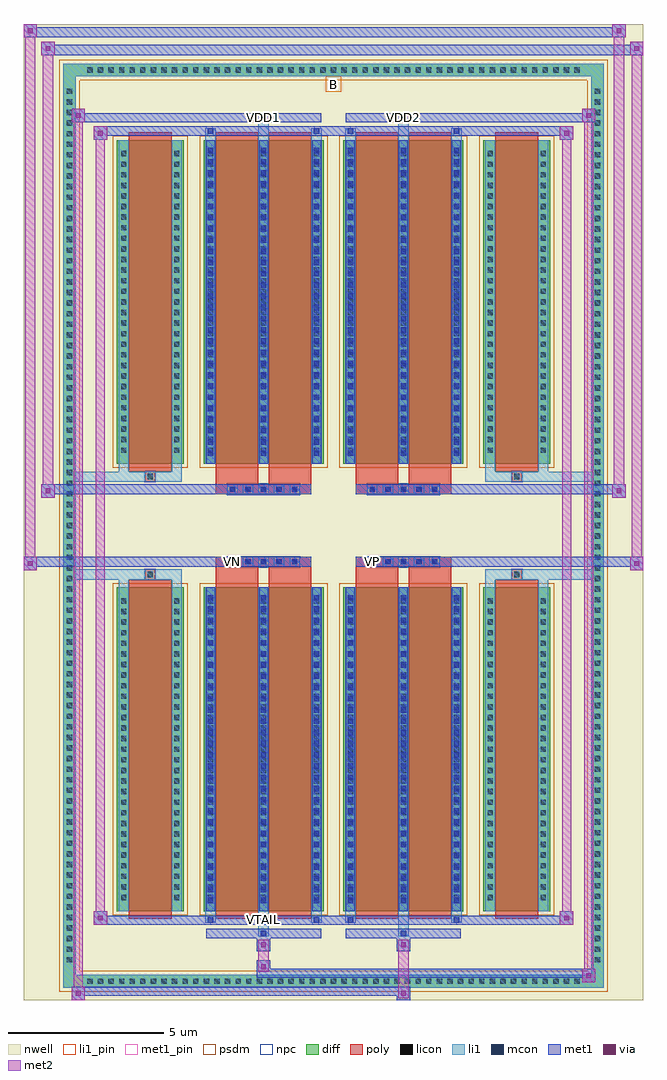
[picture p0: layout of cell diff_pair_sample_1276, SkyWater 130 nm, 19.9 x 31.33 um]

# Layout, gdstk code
import gdstk
lib = gdstk.Library(unit=1e-6, precision=5e-09)
def R(c, l, rs):  # rectangles x0, y0, x1, y1
    for r in rs: c.add(gdstk.rectangle(r[:2], r[2:], *l))
def A(c, l, x, y, w, h, nx, ny, dx, dy):  # array of equal rectangles
    R(c, l, [(x+i*dx, y+j*dy, x+i*dx+w, y+j*dy+h) for i in range(nx) for j in range(ny)])
def P(c, l, *ps):  # polygons
    for p in ps: c.add(gdstk.Polygon(p, *l))
nwell = (64, 20)
diff = (65, 20)
poly = (66, 20)
licon = (66, 44)
li1_pin = (67, 16)
li1 = (67, 20)
mcon = (67, 44)
met1_pin = (68, 16)
met1 = (68, 20)
via = (68, 44)
met2 = (69, 20)
psdm = (94, 20)
npc = (95, 20)

diff_pair_sample_1276 = lib.new_cell('diff_pair_sample_1276')
R(diff_pair_sample_1276, nwell, [(-9.95,-15.23,9.95,16.1), (-7.27,-13.42,-0.01,-0.8), (0.01,-13.42,7.27,-0.8), (-7.27,0.8,-0.01,13.42), (0.01,0.8,7.27,13.42)])
A(diff_pair_sample_1276, diff, -8.025, -14.83, 0.41, 0.41, 47, 2, 0.34, 29.25)
A(diff_pair_sample_1276, diff, -8.68, -14.145, 0.41, 0.41, 1, 83, 0, 0.34)
A(diff_pair_sample_1276, diff, 8.27, -14.145, 0.41, 0.41, 1, 83, 0, 0.34)
R(diff_pair_sample_1276, diff, [(-8.025,-14.83,8.025,-14.42), (-8.68,-14.145,-8.27,14.145), (8.27,-14.145,8.68,14.145), (-6.96,-12.375,-4.81,-1.985), (-4.17,-12.375,-0.32,-1.985), (0.32,-12.375,4.17,-1.985), (4.81,-12.375,6.96,-1.985), (-6.96,1.985,-4.81,12.375), (-4.17,1.985,-0.32,12.375), (0.32,1.985,4.17,12.375), (4.81,1.985,6.96,12.375), (-8.025,14.42,8.025,14.83)])
P(diff_pair_sample_1276, diff, [(8.68,14.83),(-8.68,14.83),(-8.68,-14.42),(-8.27,-14.42),(-8.27,14.42),(8.27,14.42),(8.27,-14.42),(-8.27,-14.42),(-8.68,-14.42),(-8.68,-14.83),(8.68,-14.83)])
A(diff_pair_sample_1276, poly, -3.41, -1.33, 0.33, 0.33, 5, 2, 0.5, 2.33)
A(diff_pair_sample_1276, poly, 1.08, -1.33, 0.33, 0.33, 5, 2, 0.5, 2.33)
R(diff_pair_sample_1276, poly, [(-6.57,-12.625,-5.2,-1.735), (-3.78,-12.625,-2.41,-1.735), (-2.08,-12.625,-0.71,-1.735), (0.71,-12.625,2.08,-1.735), (2.41,-12.625,3.78,-1.735), (5.2,-12.625,6.57,-1.735), (-6.05,-1.735,-5.72,-1.405), (-6.05,-1.735,-5.72,-1.405), (-3.78,-1.735,-2.41,-1.33), (-2.08,-1.735,-0.71,-1.33), (0.71,-1.735,2.08,-1.33), (2.41,-1.735,3.78,-1.33), (5.72,-1.735,6.05,-1.405), (5.72,-1.735,6.05,-1.405), (-3.78,-1.33,-0.71,-1), (0.71,-1.33,3.78,-1), (-3.78,1,-0.71,1.33), (0.71,1,3.78,1.33), (-3.78,1.33,-2.41,1.735), (-2.08,1.33,-0.71,1.735), (0.71,1.33,2.08,1.735), (2.41,1.33,3.78,1.735), (-6.05,1.405,-5.72,1.735), (-6.05,1.405,-5.72,1.735), (5.72,1.405,6.05,1.735), (5.72,1.405,6.05,1.735), (-6.57,1.735,-5.2,12.625), (-3.78,1.735,-2.41,12.625), (-2.08,1.735,-0.71,12.625), (0.71,1.735,2.08,12.625), (2.41,1.735,3.78,12.625), (5.2,1.735,6.57,12.625)])
A(diff_pair_sample_1276, licon, -7.905, -14.71, 0.17, 0.17, 47, 2, 0.34, 29.25)
A(diff_pair_sample_1276, licon, -8.56, -14.025, 0.17, 0.17, 1, 83, 0, 0.34)
A(diff_pair_sample_1276, licon, 8.39, -14.025, 0.17, 0.17, 1, 83, 0, 0.34)
A(diff_pair_sample_1276, licon, -6.82, -12.025, 0.17, 0.17, 1, 29, 0, 0.34)
A(diff_pair_sample_1276, licon, -5.12, -12.025, 0.17, 0.17, 1, 29, 0, 0.34)
A(diff_pair_sample_1276, licon, -4.03, -12.025, 0.17, 0.17, 3, 29, 1.7, 0.34)
A(diff_pair_sample_1276, licon, 0.46, -12.025, 0.17, 0.17, 3, 29, 1.7, 0.34)
A(diff_pair_sample_1276, licon, 4.95, -12.025, 0.17, 0.17, 1, 29, 0, 0.34)
A(diff_pair_sample_1276, licon, 6.65, -12.025, 0.17, 0.17, 1, 29, 0, 0.34)
A(diff_pair_sample_1276, licon, -3.33, -1.25, 0.17, 0.17, 5, 2, 0.5, 2.33)
A(diff_pair_sample_1276, licon, 1.16, -1.25, 0.17, 0.17, 5, 2, 0.5, 2.33)
A(diff_pair_sample_1276, licon, -6.82, 2.335, 0.17, 0.17, 1, 29, 0, 0.34)
A(diff_pair_sample_1276, licon, -5.12, 2.335, 0.17, 0.17, 1, 29, 0, 0.34)
A(diff_pair_sample_1276, licon, -4.03, 2.335, 0.17, 0.17, 3, 29, 1.7, 0.34)
A(diff_pair_sample_1276, licon, 0.46, 2.335, 0.17, 0.17, 3, 29, 1.7, 0.34)
A(diff_pair_sample_1276, licon, 4.95, 2.335, 0.17, 0.17, 1, 29, 0, 0.34)
A(diff_pair_sample_1276, licon, 6.65, 2.335, 0.17, 0.17, 1, 29, 0, 0.34)
R(diff_pair_sample_1276, licon, [(-5.97,-1.655,-5.8,-1.485), (5.8,-1.655,5.97,-1.485), (-5.97,1.485,-5.8,1.655), (5.8,1.485,5.97,1.655)])
R(diff_pair_sample_1276, li1_pin, [(-0.25,13.92,0.25,14.42)])
A(diff_pair_sample_1276, li1, -7.985, -14.79, 0.33, 0.33, 47, 2, 0.34, 29.25)
A(diff_pair_sample_1276, li1, -8.64, -14.105, 0.33, 0.33, 1, 83, 0, 0.34)
A(diff_pair_sample_1276, li1, 8.31, -14.105, 0.33, 0.33, 1, 83, 0, 0.34)
A(diff_pair_sample_1276, li1, -4.11, -12.375, 0.33, 10.39, 3, 2, 1.7, 14.36)
A(diff_pair_sample_1276, li1, 0.38, -12.375, 0.33, 10.39, 3, 2, 1.7, 14.36)
A(diff_pair_sample_1276, li1, -4.03, -12.125, 0.17, 0.17, 3, 28, 1.7, 0.36)
A(diff_pair_sample_1276, li1, -4.03, -12.125, 0.17, 9.89, 3, 2, 1.7, 14.36)
A(diff_pair_sample_1276, li1, 0.46, -12.125, 0.17, 0.17, 3, 28, 1.7, 0.36)
A(diff_pair_sample_1276, li1, 0.46, -12.125, 0.17, 9.89, 3, 2, 1.7, 14.36)
A(diff_pair_sample_1276, li1, -6.9, -12.105, 0.33, 0.33, 1, 29, 0, 0.34)
A(diff_pair_sample_1276, li1, -5.2, -12.105, 0.33, 0.33, 1, 29, 0, 0.34)
A(diff_pair_sample_1276, li1, -4.11, -12.105, 0.33, 0.33, 3, 29, 1.7, 0.34)
A(diff_pair_sample_1276, li1, 0.38, -12.105, 0.33, 0.33, 3, 29, 1.7, 0.34)
A(diff_pair_sample_1276, li1, 4.87, -12.105, 0.33, 0.33, 1, 29, 0, 0.34)
A(diff_pair_sample_1276, li1, 6.57, -12.105, 0.33, 0.33, 1, 29, 0, 0.34)
A(diff_pair_sample_1276, li1, -3.41, -1.33, 0.33, 0.33, 5, 2, 0.5, 2.33)
A(diff_pair_sample_1276, li1, 1.08, -1.33, 0.33, 0.33, 5, 2, 0.5, 2.33)
A(diff_pair_sample_1276, li1, -4.03, 2.235, 0.17, 0.17, 3, 28, 1.7, 0.36)
A(diff_pair_sample_1276, li1, 0.46, 2.235, 0.17, 0.17, 3, 28, 1.7, 0.36)
A(diff_pair_sample_1276, li1, -6.9, 2.255, 0.33, 0.33, 1, 29, 0, 0.34)
A(diff_pair_sample_1276, li1, -5.2, 2.255, 0.33, 0.33, 1, 29, 0, 0.34)
A(diff_pair_sample_1276, li1, -4.11, 2.255, 0.33, 0.33, 3, 29, 1.7, 0.34)
A(diff_pair_sample_1276, li1, 0.38, 2.255, 0.33, 0.33, 3, 29, 1.7, 0.34)
A(diff_pair_sample_1276, li1, 4.87, 2.255, 0.33, 0.33, 1, 29, 0, 0.34)
A(diff_pair_sample_1276, li1, 6.57, 2.255, 0.33, 0.33, 1, 29, 0, 0.34)
R(diff_pair_sample_1276, li1, [(-8.68,-14.83,-8.27,-14.42), (-8.68,-14.83,-8.27,-14.42), (-8.27,-14.83,8.27,-14.42), (8.27,-14.83,8.68,-14.42), (8.27,-14.83,8.68,-14.42), (-8.68,-14.42,-8.27,14.42), (8.27,-14.42,8.68,14.42), (-2.41,-13.18,-2.08,-12.375), (-2.33,-13.18,-2.16,-13.01), (2.08,-13.18,2.41,-12.375), (2.16,-13.18,2.33,-13.01), (-4.11,-12.75,-3.78,-12.375), (-4.03,-12.75,-3.86,-12.58), (-0.71,-12.75,-0.38,-12.375), (-0.63,-12.75,-0.46,-12.58), (0.38,-12.75,0.71,-12.375), (0.46,-12.75,0.63,-12.58), (3.78,-12.75,4.11,-12.375), (3.86,-12.75,4.03,-12.58), (-6.9,-12.375,-6.57,-1.985), (-5.2,-12.375,-4.87,-1.985), (4.87,-12.375,5.2,-1.985), (6.57,-12.375,6.9,-1.985), (-6.9,-1.985,-6.57,-1.405), (-5.2,-1.985,-4.87,-1.405), (4.87,-1.985,5.2,-1.405), (6.57,-1.985,6.9,-1.405), (-8.68,-1.735,-6.05,-1.405), (-6.9,-1.735,-6.05,-1.405), (-6.05,-1.735,-5.72,-1.405), (-5.72,-1.735,-4.87,-1.405), (4.87,-1.735,5.72,-1.405), (5.72,-1.735,6.05,-1.405), (5.72,-1.735,8.68,-1.405), (6.05,-1.735,6.9,-1.405), (-8.68,1.405,-6.05,1.735), (-6.9,1.405,-6.05,1.735), (-6.9,1.405,-6.57,1.985), (-6.05,1.405,-5.72,1.735), (-5.72,1.405,-4.87,1.735), (-5.2,1.405,-4.87,1.985), (4.87,1.405,5.72,1.735), (4.87,1.405,5.2,1.985), (5.72,1.405,6.05,1.735), (5.72,1.405,8.68,1.735), (6.05,1.405,6.9,1.735), (6.57,1.405,6.9,1.985), (-6.9,1.985,-6.57,12.375), (-5.2,1.985,-4.87,12.375), (4.87,1.985,5.2,12.375), (6.57,1.985,6.9,12.375), (-4.11,12.375,-3.78,12.75), (-2.41,12.375,-2.08,13.18), (-0.71,12.375,-0.38,12.75), (0.38,12.375,0.71,12.75), (2.08,12.375,2.41,13.18), (3.78,12.375,4.11,12.75), (-4.03,12.58,-3.86,12.75), (-0.63,12.58,-0.46,12.75), (0.46,12.58,0.63,12.75), (3.86,12.58,4.03,12.75), (-2.33,13.01,-2.16,13.18), (2.16,13.01,2.33,13.18), (-8.68,14.42,-8.27,14.83), (-8.68,14.42,-8.27,14.83), (-8.27,14.42,8.27,14.83), (8.27,14.42,8.68,14.83), (8.27,14.42,8.68,14.83)])
A(diff_pair_sample_1276, mcon, -4.03, -12.125, 0.17, 0.17, 3, 28, 1.7, 0.36)
A(diff_pair_sample_1276, mcon, 0.46, -12.125, 0.17, 0.17, 3, 28, 1.7, 0.36)
A(diff_pair_sample_1276, mcon, -3.33, -1.25, 0.17, 0.17, 5, 2, 0.5, 2.33)
A(diff_pair_sample_1276, mcon, 1.16, -1.25, 0.17, 0.17, 5, 2, 0.5, 2.33)
A(diff_pair_sample_1276, mcon, -4.03, 2.235, 0.17, 0.17, 3, 28, 1.7, 0.36)
A(diff_pair_sample_1276, mcon, 0.46, 2.235, 0.17, 0.17, 3, 28, 1.7, 0.36)
R(diff_pair_sample_1276, mcon, [(-2.33,-13.18,-2.16,-13.01), (2.16,-13.18,2.33,-13.01), (-4.03,-12.75,-3.86,-12.58), (-0.63,-12.75,-0.46,-12.58), (0.46,-12.75,0.63,-12.58), (3.86,-12.75,4.03,-12.58), (-4.03,12.58,-3.86,12.75), (-0.63,12.58,-0.46,12.75), (0.46,12.58,0.63,12.75), (3.86,12.58,4.03,12.75), (-2.33,13.01,-2.16,13.18), (2.16,13.01,2.33,13.18)])
R(diff_pair_sample_1276, met1_pin, [(-2.38,-12.79,-2.11,-12.52), (-3.38,-1.29,-3.11,-1.02), (1.11,-1.29,1.38,-1.02), (-2.38,12.97,-2.11,13.24), (2.11,12.97,2.38,13.24)])
A(diff_pair_sample_1276, met1, -4.09, -12.375, 0.29, 10.39, 3, 2, 1.7, 14.36)
A(diff_pair_sample_1276, met1, 0.4, -12.375, 0.29, 10.39, 3, 2, 1.7, 14.36)
A(diff_pair_sample_1276, met1, -4.09, -12.185, 0.29, 0.29, 3, 28, 1.7, 0.36)
A(diff_pair_sample_1276, met1, 0.4, -12.185, 0.29, 0.29, 3, 28, 1.7, 0.36)
A(diff_pair_sample_1276, met1, -3.39, -1.31, 0.29, 0.29, 5, 2, 0.5, 2.33)
A(diff_pair_sample_1276, met1, 1.1, -1.31, 0.29, 0.29, 5, 2, 0.5, 2.33)
A(diff_pair_sample_1276, met1, -4.09, 2.175, 0.29, 0.29, 3, 28, 1.7, 0.36)
A(diff_pair_sample_1276, met1, 0.4, 2.175, 0.29, 0.29, 3, 28, 1.7, 0.36)
R(diff_pair_sample_1276, met1, [(-8.41,-15.23,-7.98,-14.8), (2.03,-15.23,2.46,-14.8), (-8.41,-15.09,2.46,-14.8), (7.98,-14.66,8.41,-14.23), (-2.46,-14.52,8.41,-14.23), (-2.46,-14.38,-2.03,-13.95), (-2.46,-13.67,-2.03,-13.24), (2.03,-13.67,2.46,-13.24), (-4.09,-13.24,-0.4,-12.95), (-2.39,-13.24,-2.1,-12.95), (0.4,-13.24,4.09,-12.95), (2.1,-13.24,2.39,-12.95), (-7.7,-12.81,-7.27,-12.38), (-7.7,-12.81,-4.09,-12.52), (-4.09,-12.81,-3.8,-12.52), (-4.09,-12.81,-0.4,-12.52), (-0.69,-12.81,-0.4,-12.52), (-0.4,-12.81,0.4,-12.52), (0.4,-12.81,0.69,-12.52), (0.4,-12.81,4.09,-12.52), (3.8,-12.81,4.09,-12.52), (4.09,-12.81,7.7,-12.52), (7.27,-12.81,7.7,-12.38), (-9.95,-1.43,-9.52,-1), (9.52,-1.43,9.95,-1), (-9.95,-1.33,-0.71,-1), (-3.78,-1.33,-0.71,-1), (0.71,-1.33,3.78,-1), (0.71,-1.33,9.95,-1), (-9.38,0.9,-8.95,1.33), (8.95,0.9,9.38,1.33), (-9.38,1,-3.78,1.33), (-3.78,1,-0.71,1.33), (0.71,1,3.78,1.33), (3.78,1,9.38,1.33), (-7.7,12.38,-7.27,12.81), (7.27,12.38,7.7,12.81), (-7.7,12.52,-4.09,12.81), (-4.09,12.52,-3.8,12.81), (-4.09,12.52,-0.4,12.81), (-0.69,12.52,-0.4,12.81), (-0.4,12.52,0.4,12.81), (0.4,12.52,0.69,12.81), (0.4,12.52,4.09,12.81), (3.8,12.52,4.09,12.81), (4.09,12.52,7.7,12.81), (-8.41,12.95,-7.98,13.38), (-8.41,12.95,-4.09,13.24), (-4.09,12.95,-0.4,13.24), (-2.39,12.95,-2.1,13.24), (0.4,12.95,4.09,13.24), (2.1,12.95,2.39,13.24), (4.09,12.95,8.41,13.24), (7.98,12.95,8.41,13.38), (-9.38,15.1,-8.95,15.53), (-9.38,15.1,-7.27,15.43), (-7.27,15.1,7.27,15.43), (7.27,15.1,9.95,15.43), (9.52,15.1,9.95,15.53), (-9.95,15.67,-9.52,16.1), (-9.95,15.67,-7.27,16), (-7.27,15.67,7.27,16), (7.27,15.67,9.38,16), (8.95,15.67,9.38,16.1)])
R(diff_pair_sample_1276, via, [(-8.27,-15.09,-8.12,-14.94), (2.17,-15.09,2.32,-14.94), (8.12,-14.52,8.27,-14.37), (-2.32,-14.24,-2.17,-14.09), (-2.32,-13.53,-2.17,-13.38), (2.17,-13.53,2.32,-13.38), (-7.56,-12.67,-7.41,-12.52), (7.41,-12.67,7.56,-12.52), (-9.81,-1.29,-9.66,-1.14), (9.66,-1.29,9.81,-1.14), (-9.24,1.04,-9.09,1.19), (9.09,1.04,9.24,1.19), (-7.56,12.52,-7.41,12.67), (7.41,12.52,7.56,12.67), (-8.27,13.09,-8.12,13.24), (8.12,13.09,8.27,13.24), (-9.24,15.24,-9.09,15.39), (9.66,15.24,9.81,15.39), (-9.81,15.81,-9.66,15.96), (9.09,15.81,9.24,15.96)])
R(diff_pair_sample_1276, met2, [(-8.41,-15.23,-7.98,-14.8), (-8.34,-15.23,-8.05,13.38), (-8.05,-15.23,-7.98,-14.8), (-8.36,-15.18,-8.03,-14.85), (2.08,-15.18,2.41,-14.85), (2.08,-14.85,2.41,-13.62), (7.98,-14.66,8.41,-14.23), (8.05,-14.66,8.34,13.38), (8.34,-14.66,8.41,-14.23), (8.03,-14.61,8.36,-14.28), (-2.41,-14.33,-2.08,-14), (-2.41,-14,-2.08,-13.62), (-2.41,-13.62,-2.08,-13.29), (2.08,-13.62,2.41,-13.29), (-7.7,-12.81,-7.27,-12.38), (-7.63,-12.81,-7.34,12.81), (-7.34,-12.81,-7.27,-12.38), (7.27,-12.81,7.7,-12.38), (7.34,-12.81,7.63,12.81), (7.63,-12.81,7.7,-12.38), (-7.65,-12.76,-7.32,-12.43), (7.32,-12.76,7.65,-12.43), (-9.95,-1.43,-9.52,-1), (-9.9,-1.43,-9.57,16.1), (-9.57,-1.43,-9.52,-1), (9.52,-1.43,9.95,-1), (9.57,-1.43,9.9,15.53), (9.9,-1.43,9.95,-1), (-9.9,-1.38,-9.57,-1.05), (9.57,-1.38,9.9,-1.05), (-9.38,0.9,-8.95,1.33), (-9.33,0.9,-9,15.53), (-9,0.9,-8.95,1.33), (8.95,0.9,9.38,1.33), (9,0.9,9.33,16.1), (9.33,0.9,9.38,1.33), (-9.33,0.95,-9,1.28), (9,0.95,9.33,1.28), (-7.7,12.38,-7.27,12.81), (-7.34,12.38,-7.27,12.81), (7.27,12.38,7.7,12.81), (7.63,12.38,7.7,12.81), (-7.65,12.43,-7.32,12.76), (7.32,12.43,7.65,12.76), (-8.41,12.95,-7.98,13.38), (-8.05,12.95,-7.98,13.38), (7.98,12.95,8.41,13.38), (8.34,12.95,8.41,13.38), (-8.36,13,-8.03,13.33), (8.03,13,8.36,13.33), (-9.38,15.1,-8.95,15.53), (-9,15.1,-8.95,15.53), (9.52,15.1,9.95,15.53), (9.9,15.1,9.95,15.53), (-9.33,15.15,-9,15.48), (9.57,15.15,9.9,15.48), (-9.95,15.67,-9.52,16.1), (-9.57,15.67,-9.52,16.1), (8.95,15.67,9.38,16.1), (9.33,15.67,9.38,16.1), (-9.9,15.72,-9.57,16.05), (9,15.72,9.33,16.05)])
R(diff_pair_sample_1276, psdm, [(-7.09,-12.505,-4.68,-1.855), (-4.3,-12.505,-0.19,-1.855), (0.19,-12.505,4.3,-1.855), (4.68,-12.505,7.09,-1.855), (-7.09,1.855,-4.68,12.505), (-4.3,1.855,-0.19,12.505), (0.19,1.855,4.3,12.505), (4.68,1.855,7.09,12.505)])
P(diff_pair_sample_1276, psdm, [(8.81,14.96),(-8.81,14.96),(-8.81,-14.29),(-8.14,-14.29),(-8.14,14.29),(8.14,14.29),(8.14,-14.29),(-8.14,-14.29),(-8.81,-14.29),(-8.81,-14.96),(8.81,-14.96)])
A(diff_pair_sample_1276, npc, -3.43, -1.35, 0.37, 0.37, 5, 2, 0.5, 2.33)
A(diff_pair_sample_1276, npc, 1.06, -1.35, 0.37, 0.37, 5, 2, 0.5, 2.33)
R(diff_pair_sample_1276, npc, [(-6.07,-1.755,-5.7,-1.385), (5.7,-1.755,6.07,-1.385), (-3.43,-1.35,-2.56,-0.98), (-3.43,-1.35,-2.56,-0.98), (-2.93,-1.35,-2.06,-0.98), (-2.93,-1.35,-2.06,-0.98), (-2.43,-1.35,-1.56,-0.98), (-2.43,-1.35,-1.56,-0.98), (-1.93,-1.35,-1.06,-0.98), (-1.93,-1.35,-1.06,-0.98), (1.06,-1.35,1.93,-0.98), (1.06,-1.35,1.93,-0.98), (1.56,-1.35,2.43,-0.98), (1.56,-1.35,2.43,-0.98), (2.06,-1.35,2.93,-0.98), (2.06,-1.35,2.93,-0.98), (2.56,-1.35,3.43,-0.98), (2.56,-1.35,3.43,-0.98), (-3.43,0.98,-2.56,1.35), (-3.43,0.98,-2.56,1.35), (-2.93,0.98,-2.06,1.35), (-2.93,0.98,-2.06,1.35), (-2.43,0.98,-1.56,1.35), (-2.43,0.98,-1.56,1.35), (-1.93,0.98,-1.06,1.35), (-1.93,0.98,-1.06,1.35), (1.06,0.98,1.93,1.35), (1.06,0.98,1.93,1.35), (1.56,0.98,2.43,1.35), (1.56,0.98,2.43,1.35), (2.06,0.98,2.93,1.35), (2.06,0.98,2.93,1.35), (2.56,0.98,3.43,1.35), (2.56,0.98,3.43,1.35), (-6.07,1.385,-5.7,1.755), (5.7,1.385,6.07,1.755)])
diff_pair_sample_1276.add(gdstk.Label('VTAIL', (-2.245,-12.655), layer=68, texttype=5))
diff_pair_sample_1276.add(gdstk.Label('VN', (-3.245,-1.155), layer=68, texttype=5))
diff_pair_sample_1276.add(gdstk.Label('VP', (1.245,-1.155), layer=68, texttype=5))
diff_pair_sample_1276.add(gdstk.Label('B', (0,14.17), layer=67, texttype=5))
diff_pair_sample_1276.add(gdstk.Label('VDD2', (2.245,13.105), layer=68, texttype=5))
diff_pair_sample_1276.add(gdstk.Label('VDD1', (-2.245,13.105), layer=68, texttype=5))

lib.write_gds('diff_pair_sample_1276.gds')
